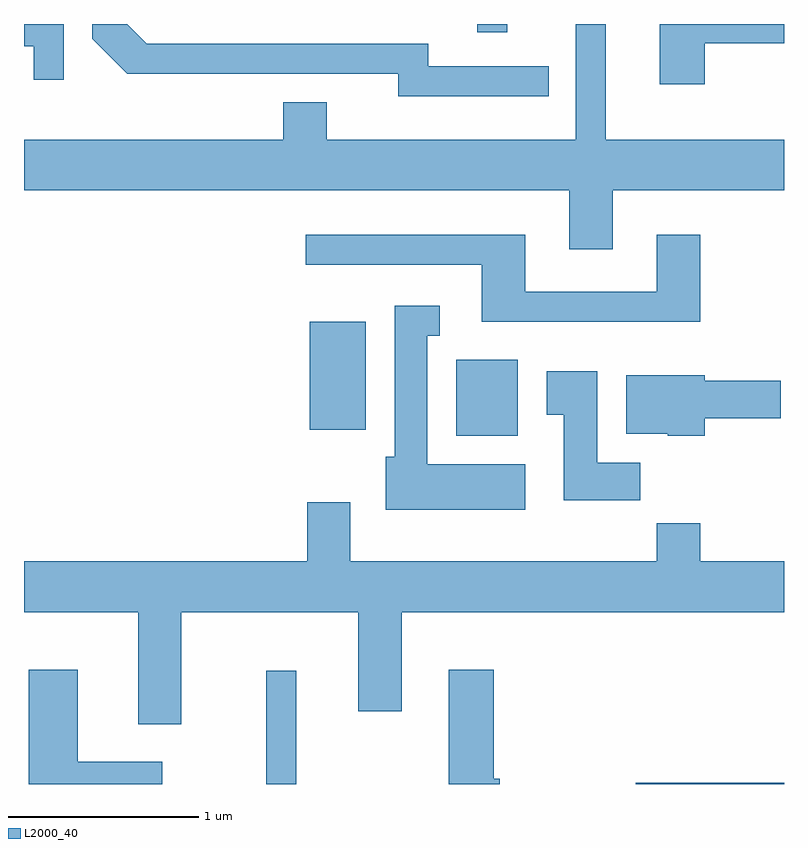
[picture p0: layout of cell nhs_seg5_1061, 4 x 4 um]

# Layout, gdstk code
import gdstk
lib = gdstk.Library(unit=1e-6, precision=1e-09)
def R(c, l, rs):  # rectangles x0, y0, x1, y1
    for r in rs: c.add(gdstk.rectangle(r[:2], r[2:], *l))
def P(c, l, *ps):  # polygons
    for p in ps: c.add(gdstk.Polygon(p, *l))
L2000_40 = (2000, 40)

nhs_seg5_1061 = lib.new_cell('nhs_seg5_1061')
R(nhs_seg5_1061, L2000_40, [(216.886,1498.072,217.044,1498.668), (218.831,1498.072,219.611,1498.079), (217.886,1499.906,218.209,1500.304), (217.116,1499.936,217.409,1500.504), (217.996,1502.028,218.154,1502.072)])
P(nhs_seg5_1061, L2000_40, [(218.709,1501.196),(219.611,1501.196),(219.611,1501.464),(218.674,1501.464),(218.674,1502.072),(218.516,1502.072),(218.516,1501.464),(217.204,1501.464),(217.204,1501.659),(216.976,1501.659),(216.976,1501.464),(215.611,1501.464),(215.611,1501.196),(218.481,1501.196),(218.481,1500.886),(218.709,1500.886)],
  [(219.194,1501.971),(219.611,1501.971),(219.611,1502.072),(218.956,1502.072),(218.956,1501.756),(219.194,1501.756)],
  [(215.819,1502.072),(215.611,1502.072),(215.611,1501.956),(215.661,1501.956),(215.661,1501.778),(215.819,1501.778)],
  [(218.373,1501.849),(217.739,1501.849),(217.739,1501.969),(216.257,1501.969),(216.154,1502.072),(215.971,1502.072),(215.971,1501.994),(216.154,1501.811),(217.581,1501.811),(217.581,1501.691),(218.373,1501.691)],
  [(219.169,1500.964),(218.941,1500.964),(218.941,1500.664),(218.249,1500.664),(218.249,1500.964),(217.093,1500.964),(217.093,1500.806),(218.021,1500.806),(218.021,1500.506),(219.169,1500.506)],
  [(218.249,1499.754),(217.734,1499.754),(217.734,1500.431),(217.798,1500.431),(217.798,1500.589),(217.561,1500.589),(217.561,1499.794),(217.516,1499.794),(217.516,1499.516),(218.249,1499.516)],
  [(218.854,1499.764),(218.629,1499.764),(218.629,1500.244),(218.361,1500.244),(218.361,1500.016),(218.451,1500.016),(218.451,1499.566),(218.854,1499.566)],
  [(219.194,1499.996),(219.594,1499.996),(219.594,1500.194),(219.194,1500.194),(219.194,1500.224),(218.781,1500.224),(218.781,1499.916),(219,1499.916),(219,1499.906),(219.194,1499.906)],
  [(216.439,1498.976),(217.371,1498.976),(217.371,1498.456),(217.599,1498.456),(217.599,1498.976),(219.611,1498.976),(219.611,1499.244),(219.169,1499.244),(219.169,1499.444),(218.941,1499.444),(218.941,1499.244),(217.329,1499.244),(217.329,1499.554),(217.101,1499.554),(217.101,1499.244),(215.611,1499.244),(215.611,1498.976),(216.211,1498.976),(216.211,1498.386),(216.439,1498.386)],
  [(216.338,1498.189),(215.894,1498.189),(215.894,1498.674),(215.636,1498.674),(215.636,1498.072),(216.338,1498.072)],
  [(218.114,1498.099),(218.084,1498.099),(218.084,1498.674),(217.846,1498.674),(217.846,1498.072),(218.114,1498.072)])

lib.write_gds('nhs_seg5_1061.gds')
